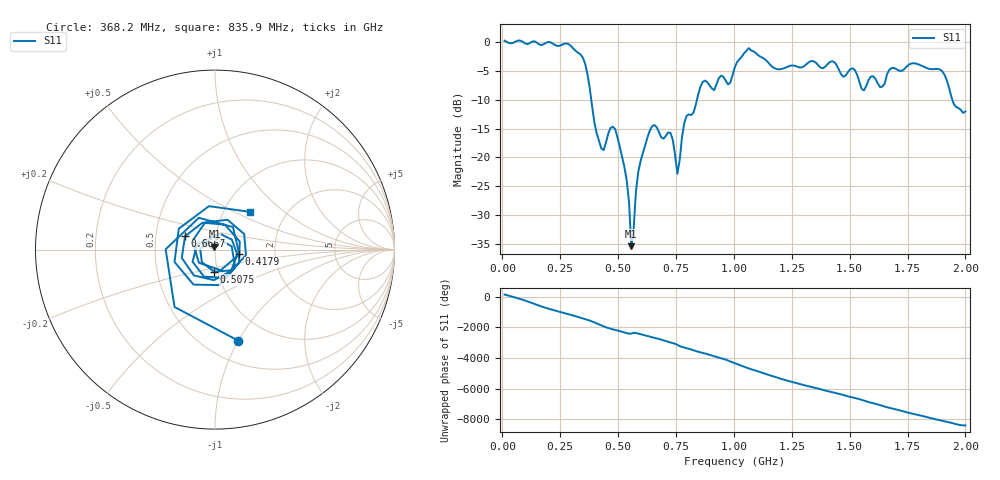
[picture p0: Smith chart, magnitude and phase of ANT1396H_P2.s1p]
!Created with skrf (http://scikit-rf.org).
# Hz S RI R 50.0
!freq ReS11 ImS11
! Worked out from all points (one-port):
!   201 points, 10 MHz to 2 GHz, reference 50 ohm
!   lowest |S11| = -35.4 dB at 557.2 MHz (marker M1), VSWR 1.03, Z = 49.7 + j1.66 ohm
!   |S11| at or under -10 dB: 384.2 MHz to 840.8 MHz (456.6 MHz wide, 74.6 % of centre); 1.944 GHz to end of sweep
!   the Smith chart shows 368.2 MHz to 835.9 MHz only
!   S11 on the Smith chart (normalised r, x): 368.2 MHz: 0.71, -1.00; 417.9 MHz: 1.31, -0.07; 507.5 MHz: 0.96, -0.24; 666.7 MHz: 0.71, +0.11; 835.9 MHz: 1.32, +0.61
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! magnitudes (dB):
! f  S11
! 10 MHz  0.2
! 258.8 MHz  -0.5
! 338.4 MHz  -2.2
! 368.2 MHz  -5.6
! 417.9 MHz  -17.2
! 437.9 MHz  -18.7
! 477.6 MHz  -14.7
! 507.5 MHz  -18.2
! 537.4 MHz  -24.0
! 557.2 MHz  -35.4
! 577.1 MHz  -25.9
! 597 MHz  -20.7
! 666.7 MHz  -14.8
! 726.4 MHz  -15.8
! 756.2 MHz  -22.8
! 786.1 MHz  -14.0
! 835.9 MHz  -10.9
! 865.7 MHz  -6.9
! 975.1 MHz  -7.4
! 1.005 GHz  -4.3
! 1.065 GHz  -1.1
! 1.254 GHz  -4.1
! 1.502 GHz  -4.7
! 1.562 GHz  -8.4
! 1.751 GHz  -4.1
! 1.891 GHz  -4.8
! 1.95 GHz  -10.8
! 2 GHz  -12.0
